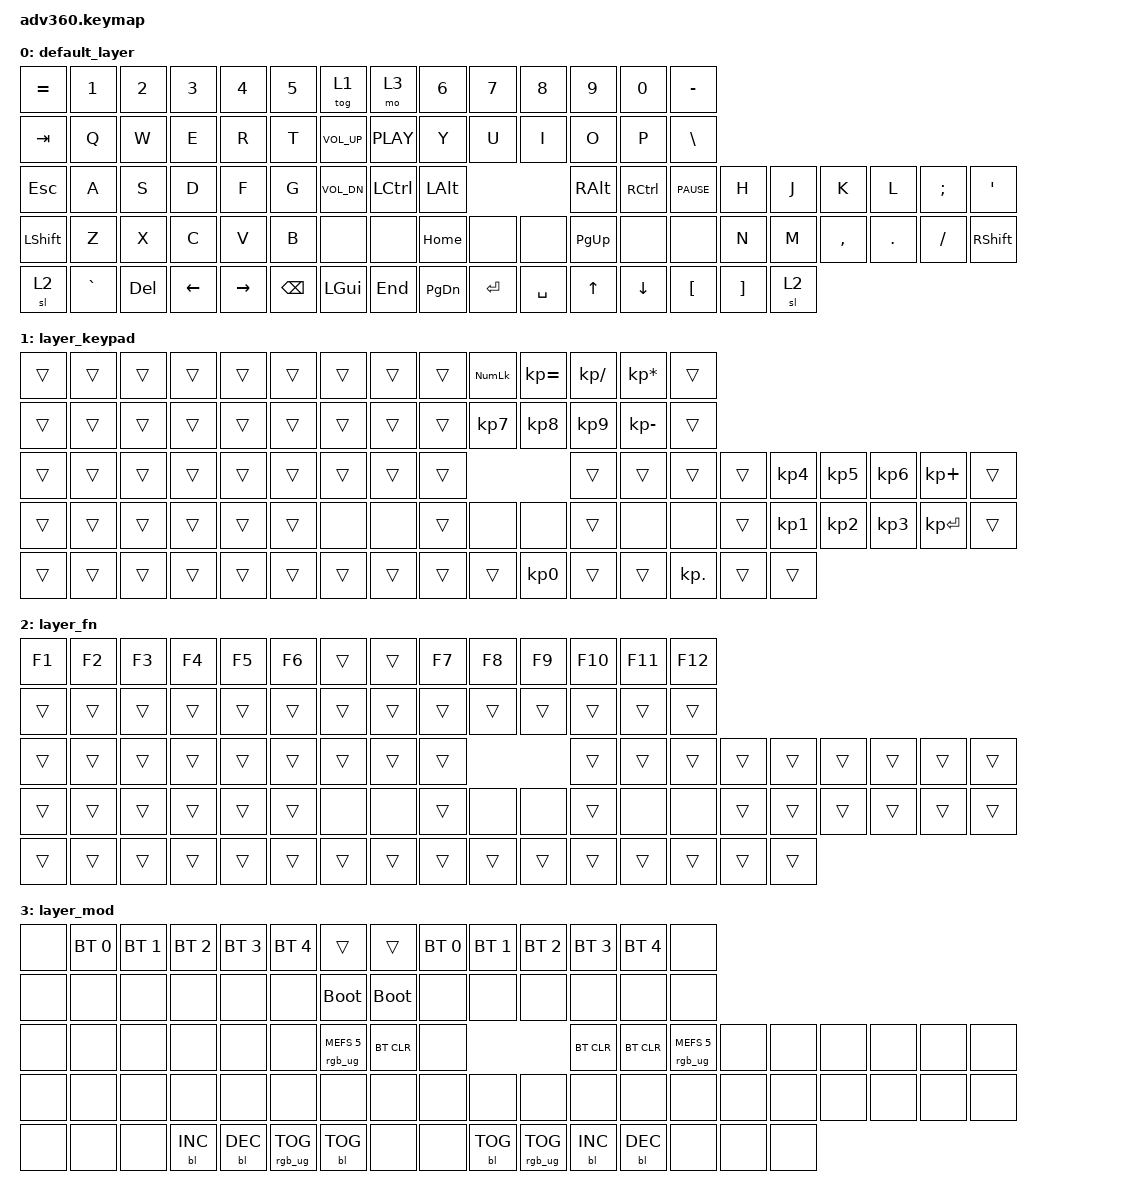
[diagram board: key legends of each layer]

/*
 * Copyright (c) 2020 The ZMK Contributors
 *
 * SPDX-License-Identifier: MIT
 */


/* THIS FILE WAS GENERATED!
 *
 * This file was generated automatically. You may or may not want to
 * edit it directly.
 */

#include <behaviors.dtsi>
#include <dt-bindings/zmk/keys.h>
#include <dt-bindings/zmk/bt.h>
#include <dt-bindings/zmk/rgb.h>
#include <dt-bindings/zmk/backlight.h>

/ {
  behaviors {
    #include "macros.dtsi"

    hm: homerow_mods {
        compatible = "zmk,behavior-hold-tap";
        label = "HOMEROW_MODS";
        #binding-cells = <2>;
        tapping-term-ms = <200>;
        quick_tap_ms = <175>;
        flavor = "tap-preferred";
        bindings = <&kp>, <&kp>;
    };
  };

    keymap {
        compatible = "zmk,keymap";


        default_layer {
            bindings = <
 &kp EQUAL     &kp N1   &kp N2    &kp N3     &kp N4    &kp N5                  &tog 1       &mo 3     &kp N6     &kp N7     &kp N8     &kp N9     &kp N0    &kp MINUS
   &kp TAB      &kp Q    &kp W     &kp E      &kp R     &kp T            &kp C_VOL_UP  &kp C_PLAY      &kp Y      &kp U      &kp I      &kp O      &kp P     &kp BSLH
   &kp ESC      &kp A    &kp S     &kp D      &kp F     &kp G            &kp C_VOL_DN   &kp LCTRL   &kp LALT                         &kp RALT  &kp RCTRL  &kp C_PAUSE     &kp H   &kp J      &kp K    &kp L  &kp SEMI    &kp SQT
 &kp LSHFT      &kp Z    &kp X     &kp C      &kp V     &kp B                   &none       &none   &kp HOME      &none      &none  &kp PG_UP      &none        &none     &kp N   &kp M  &kp COMMA  &kp DOT  &kp FSLH  &kp RSHFT
     &sl 2  &kp GRAVE  &kp DEL  &kp LEFT  &kp RIGHT  &kp BSPC                &kp LGUI     &kp END  &kp PG_DN  &kp ENTER  &kp SPACE     &kp UP   &kp DOWN     &kp LBKT  &kp RBKT   &sl 2
            >;
        };

        layer_keypad {
            bindings = <
 &trans  &trans  &trans  &trans  &trans  &trans            &trans  &trans  &trans  &kp KP_NUM  &kp KP_EQUAL  &kp KP_DIVIDE  &kp KP_MULTIPLY      &trans
 &trans  &trans  &trans  &trans  &trans  &trans            &trans  &trans  &trans   &kp KP_N7     &kp KP_N8      &kp KP_N9     &kp KP_MINUS      &trans
 &trans  &trans  &trans  &trans  &trans  &trans            &trans  &trans  &trans                                   &trans           &trans      &trans  &trans  &kp KP_N4  &kp KP_N5  &kp KP_N6   &kp KP_PLUS  &trans
 &trans  &trans  &trans  &trans  &trans  &trans             &none   &none  &trans       &none         &none         &trans            &none       &none  &trans  &kp KP_N1  &kp KP_N2  &kp KP_N3  &kp KP_ENTER  &trans
 &trans  &trans  &trans  &trans  &trans  &trans            &trans  &trans  &trans      &trans     &kp KP_N0         &trans           &trans  &kp KP_DOT  &trans     &trans
            >;
        };

        layer_fn {
            bindings = <
 &kp F1  &kp F2  &kp F3  &kp F4  &kp F5  &kp F6            &trans  &trans  &kp F7  &kp F8  &kp F9  &kp F10  &kp F11  &kp F12
 &trans  &trans  &trans  &trans  &trans  &trans            &trans  &trans  &trans  &trans  &trans   &trans   &trans   &trans
 &trans  &trans  &trans  &trans  &trans  &trans            &trans  &trans  &trans                   &trans   &trans   &trans  &trans  &trans  &trans  &trans  &trans  &trans
 &trans  &trans  &trans  &trans  &trans  &trans             &none   &none  &trans   &none   &none   &trans    &none    &none  &trans  &trans  &trans  &trans  &trans  &trans
 &trans  &trans  &trans  &trans  &trans  &trans            &trans  &trans  &trans  &trans  &trans   &trans   &trans   &trans  &trans  &trans
            >;
        };

        layer_mod {
            bindings = <
  &none  &bt BT_SEL 0  &bt BT_SEL 1  &bt BT_SEL 2  &bt BT_SEL 3     &bt BT_SEL 4                            &trans       &trans  &bt BT_SEL 0  &bt BT_SEL 1     &bt BT_SEL 2  &bt BT_SEL 3  &bt BT_SEL 4                   &none
  &none         &none         &none         &none         &none            &none                       &bootloader  &bootloader         &none         &none            &none         &none         &none                   &none
  &none         &none         &none         &none         &none            &none            &rgb_ug RGB_MEFS_CMD 5   &bt BT_CLR         &none                                   &bt BT_CLR    &bt BT_CLR  &rgb_ug RGB_MEFS_CMD 5   &none   &none   &none   &none   &none   &none
  &none         &none         &none         &none         &none            &none                             &none        &none         &none         &none            &none         &none         &none                   &none   &none   &none   &none   &none   &none   &none
  &none         &none         &none    &bl BL_INC    &bl BL_DEC  &rgb_ug RGB_TOG                        &bl BL_TOG        &none         &none    &bl BL_TOG  &rgb_ug RGB_TOG    &bl BL_INC    &bl BL_DEC                   &none   &none   &none
            >;
        };

    };
};
